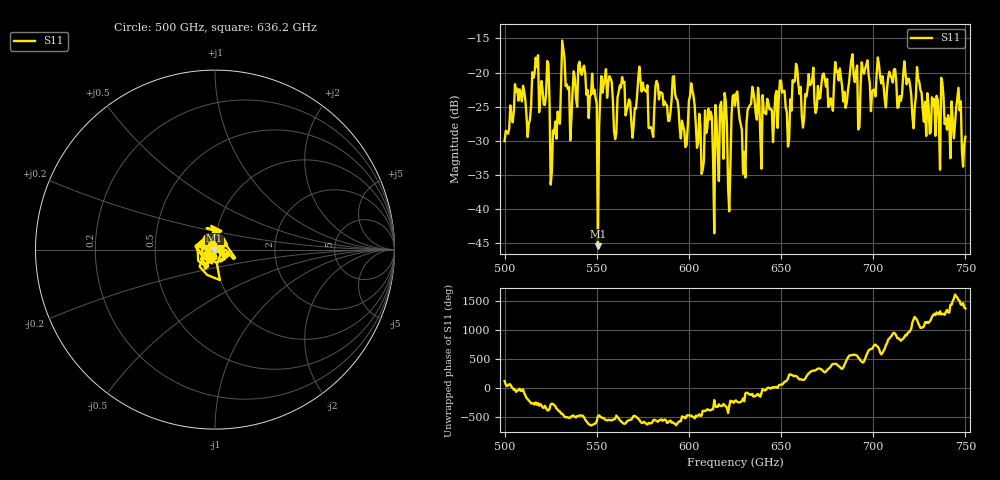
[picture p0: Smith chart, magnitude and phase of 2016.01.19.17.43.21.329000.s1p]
!Created with skrf (http://scikit-rf.org).
# GHz S RI R 50.0
!freq ReS11 ImS11
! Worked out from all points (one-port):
!   401 points, 500 GHz to 750 GHz, reference 50 ohm
!   lowest |S11| = -45.5 dB at 550.6 GHz (marker M1), VSWR 1.01, Z = 49.7 - j0.424 ohm
!   |S11| at or under -10 dB: start of sweep to end of sweep
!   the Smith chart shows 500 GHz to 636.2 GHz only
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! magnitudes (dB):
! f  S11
! 500 GHz  -30.1
! 506.9 GHz  -22.4
! 513.1 GHz  -27.6
! 516.9 GHz  -17.8
! 523.1 GHz  -18.3
! 526.2 GHz  -28.5
! 531.2 GHz  -15.3
! 535.6 GHz  -30.0
! 541.9 GHz  -20.3
! 550.6 GHz  -45.5
! 553.8 GHz  -21.8
! 560 GHz  -29.8
! 562.5 GHz  -21.9
! 570 GHz  -27.9
! 573.8 GHz  -21.3
! 579.4 GHz  -28.0
! 593.8 GHz  -24.0
! 615 GHz  -27.4
! 618.8 GHz  -32.7
! 621.9 GHz  -40.4
! 625 GHz  -24.9
! 629.4 GHz  -34.9
! 633.8 GHz  -24.6
! 656.2 GHz  -21.1
! 687.5 GHz  -19.6
! 718.8 GHz  -20.9
! 746.2 GHz  -22.2
! 750 GHz  -29.4
